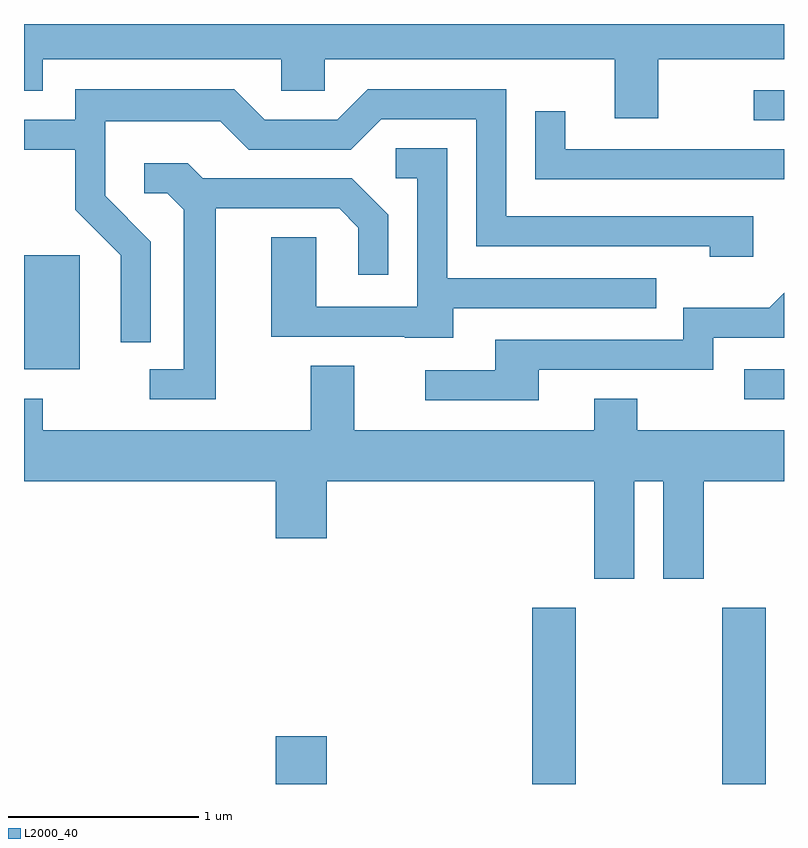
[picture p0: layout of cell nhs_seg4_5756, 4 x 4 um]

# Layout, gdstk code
import gdstk
lib = gdstk.Library(unit=1e-6, precision=1e-09)
def R(c, l, rs):  # rectangles x0, y0, x1, y1
    for r in rs: c.add(gdstk.rectangle(r[:2], r[2:], *l))
def P(c, l, *ps):  # polygons
    for p in ps: c.add(gdstk.Polygon(p, *l))
L2000_40 = (2000, 40)

nhs_seg4_5756 = lib.new_cell('nhs_seg4_5756')
R(nhs_seg4_5756, L2000_40, [(354.936,1341.982,355.204,1342.234), (356.286,1341.982,356.514,1342.909), (357.286,1341.982,357.514,1342.909), (357.403,1344.006,357.611,1344.164), (353.611,1344.166,353.904,1344.764), (357.453,1345.476,357.611,1345.634)])
P(nhs_seg4_5756, L2000_40, [(353.611,1345.631),(353.709,1345.631),(353.709,1345.796),(354.966,1345.796),(354.966,1345.631),(355.194,1345.631),(355.194,1345.796),(356.721,1345.796),(356.721,1345.486),(356.949,1345.486),(356.949,1345.796),(357.611,1345.796),(357.611,1345.982),(353.611,1345.982)],
  [(354.279,1344.837),(354.039,1345.077),(354.039,1345.471),(354.644,1345.471),(354.794,1345.321),(355.332,1345.321),(355.492,1345.481),(355.991,1345.481),(355.991,1344.811),(357.221,1344.811),(357.221,1344.756),(357.449,1344.756),(357.449,1344.969),(356.149,1344.969),(356.149,1345.639),(355.419,1345.639),(355.259,1345.479),(354.877,1345.479),(354.717,1345.639),(353.881,1345.639),(353.881,1345.479),(353.611,1345.479),(353.611,1345.321),(353.881,1345.321),(353.881,1345.004),(354.121,1344.764),(354.121,1344.308),(354.279,1344.308)],
  [(357.611,1345.324),(356.459,1345.324),(356.459,1345.523),(356.301,1345.523),(356.301,1345.166),(357.611,1345.166)],
  [(355.869,1344.486),(356.938,1344.486),(356.938,1344.644),(355.839,1344.644),(355.839,1345.329),(355.568,1345.329),(355.568,1345.171),(355.681,1345.171),(355.681,1344.494),(355.149,1344.494),(355.149,1344.859),(354.911,1344.859),(354.911,1344.336),(355.615,1344.336),(355.615,1344.331),(355.869,1344.331)],
  [(354.619,1345.011),(355.269,1345.011),(355.371,1344.909),(355.371,1344.663),(355.529,1344.663),(355.529,1344.977),(355.337,1345.169),(354.552,1345.169),(354.472,1345.249),(354.243,1345.249),(354.243,1345.091),(354.364,1345.091),(354.451,1345.004),(354.451,1344.164),(354.273,1344.164),(354.273,1344.006),(354.619,1344.006)],
  [(356.319,1344.161),(357.239,1344.161),(357.239,1344.331),(357.611,1344.331),(357.611,1344.567),(357.534,1344.489),(357.081,1344.489),(357.081,1344.319),(356.091,1344.319),(356.091,1344.159),(355.723,1344.159),(355.723,1344.001),(356.319,1344.001)],
  [(356.824,1343.576),(356.976,1343.576),(356.976,1343.061),(357.189,1343.061),(357.189,1343.576),(357.611,1343.576),(357.611,1343.844),(356.839,1343.844),(356.839,1344.009),(356.611,1344.009),(356.611,1343.844),(355.349,1343.844),(355.349,1344.184),(355.121,1344.184),(355.121,1343.844),(353.709,1343.844),(353.709,1344.009),(353.611,1344.009),(353.611,1343.576),(354.936,1343.576),(354.936,1343.276),(355.204,1343.276),(355.204,1343.576),(356.611,1343.576),(356.611,1343.061),(356.824,1343.061)])

lib.write_gds('nhs_seg4_5756.gds')
